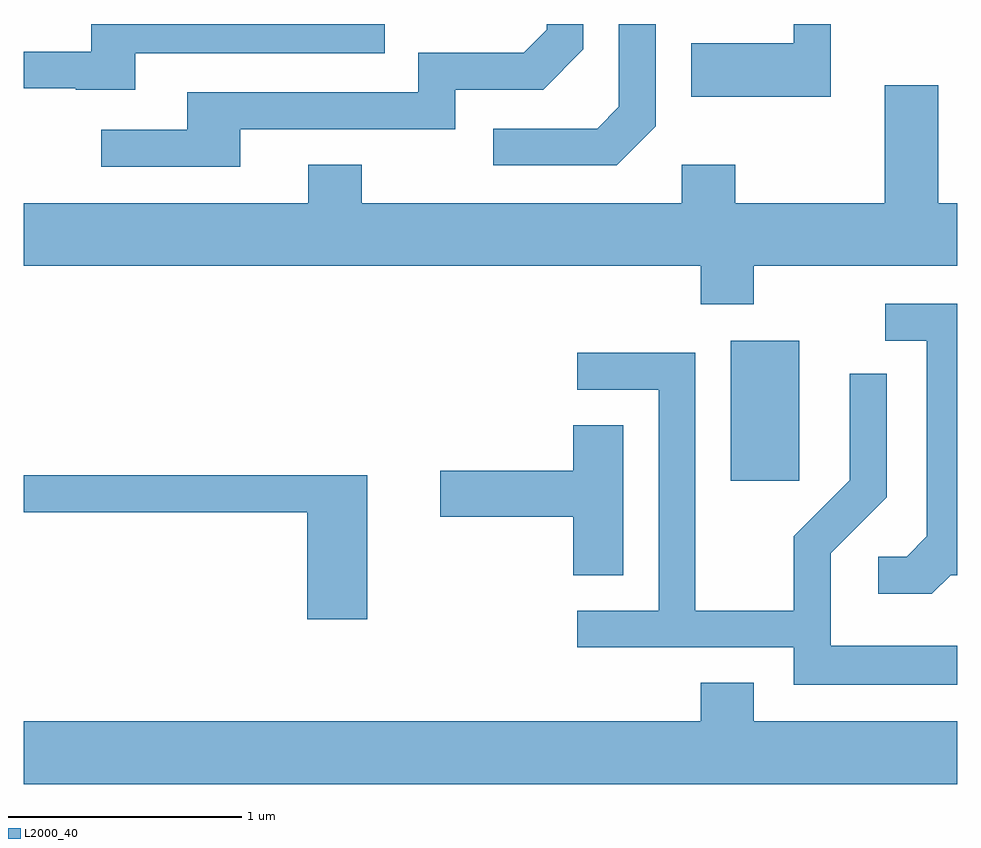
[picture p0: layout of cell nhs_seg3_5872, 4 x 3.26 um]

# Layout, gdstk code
import gdstk
lib = gdstk.Library(unit=1e-6, precision=1e-09)
def R(c, l, rs):  # rectangles x0, y0, x1, y1
    for r in rs: c.add(gdstk.rectangle(r[:2], r[2:], *l))
def P(c, l, *ps):  # polygons
    for p in ps: c.add(gdstk.Polygon(p, *l))
L2000_40 = (2000, 40)

nhs_seg3_5872 = lib.new_cell('nhs_seg3_5872')
R(nhs_seg3_5872, L2000_40, [(360.641,1173.936,360.934,1174.534)])
P(nhs_seg3_5872, L2000_40, [(360.319,1175.454),(360.319,1175.892),(360.161,1175.892),(360.161,1175.537),(360.069,1175.444),(359.623,1175.444),(359.623,1175.286),(360.152,1175.286)],
  [(358.089,1175.766),(359.158,1175.766),(359.158,1175.892),(357.901,1175.892),(357.901,1175.774),(357.611,1175.774),(357.611,1175.616),(357.835,1175.616),(357.835,1175.611),(358.089,1175.611)],
  [(358.539,1175.441),(359.459,1175.441),(359.459,1175.611),(359.837,1175.611),(360.009,1175.784),(360.009,1175.892),(359.851,1175.892),(359.851,1175.867),(359.754,1175.769),(359.301,1175.769),(359.301,1175.599),(358.311,1175.599),(358.311,1175.439),(357.943,1175.439),(357.943,1175.281),(358.539,1175.281)],
  [(361.069,1175.892),(360.911,1175.892),(360.911,1175.809),(360.471,1175.809),(360.471,1175.581),(361.069,1175.581)],
  [(360.739,1174.856),(361.611,1174.856),(361.611,1175.124),(361.529,1175.124),(361.529,1175.629),(361.301,1175.629),(361.301,1175.124),(360.659,1175.124),(360.659,1175.289),(360.431,1175.289),(360.431,1175.124),(359.059,1175.124),(359.059,1175.289),(358.831,1175.289),(358.831,1175.124),(357.611,1175.124),(357.611,1174.856),(360.511,1174.856),(360.511,1174.691),(360.739,1174.691)],
  [(361.582,1173.531),(361.611,1173.531),(361.611,1174.694),(361.303,1174.694),(361.303,1174.536),(361.481,1174.536),(361.481,1173.697),(361.394,1173.609),(361.273,1173.609),(361.273,1173.451),(361.502,1173.451)],
  [(361.611,1173.229),(361.069,1173.229),(361.069,1173.624),(361.309,1173.864),(361.309,1174.393),(361.151,1174.393),(361.151,1173.937),(360.911,1173.697),(360.911,1173.379),(360.489,1173.379),(360.489,1174.484),(359.983,1174.484),(359.983,1174.326),(360.331,1174.326),(360.331,1173.379),(359.983,1173.379),(359.983,1173.221),(360.911,1173.221),(360.911,1173.061),(361.611,1173.061)],
  [(360.179,1174.174),(359.966,1174.174),(359.966,1173.979),(359.396,1173.979),(359.396,1173.781),(359.966,1173.781),(359.966,1173.531),(360.179,1173.531)],
  [(359.084,1173.959),(357.611,1173.959),(357.611,1173.801),(358.826,1173.801),(358.826,1173.341),(359.084,1173.341)],
  [(361.611,1172.904),(360.739,1172.904),(360.739,1173.069),(360.511,1173.069),(360.511,1172.904),(357.611,1172.904),(357.611,1172.636),(361.611,1172.636)])

lib.write_gds('nhs_seg3_5872.gds')
